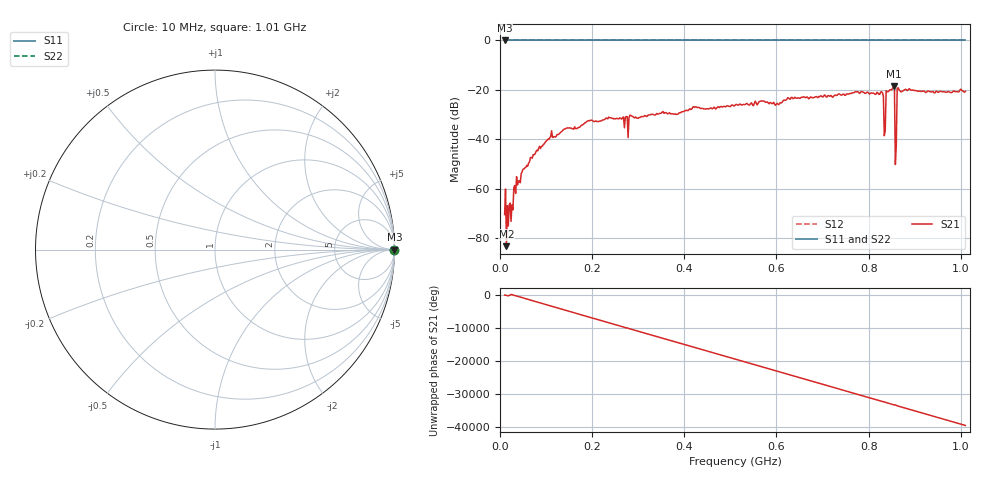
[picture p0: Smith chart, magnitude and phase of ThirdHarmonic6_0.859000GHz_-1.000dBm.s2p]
! 8/16/2025 4:24:40 AM
! C:\ANRITSUVNA\TEMP\TEMP.S2P
! CHANNEL.1
! TR.MEASUREMENT
! RAW.DATA
! RF.CORRECTION.OFF
! AVERAGING.OFF
! IF.BANDWIDTH: 5KHZ
! SWEEPTYPE:  FREQ.SWEEP(Linear)
! Reference Plane Port Info
! PORT:  PORT1  PORT2
! DISTANCE:  0  m  0  m
! TIME:  0  s  0  s
! PHASE.OFFSET:  0  deg.  0  deg.
! LOSS:  0  dB  0  dB
! REF.LOSS:  0  dB  0  dB
! REF.FREQ:  0  Hz  0  Hz
! Power Info
! POWER:  -20  dBm  -20  dBm
! EFF.POWER:  -20  dBm  -20  dBm
! SOURCE.ATTEN:  0  dB  0  dB
! TEST.ATTEN:  0  dB  0  dB
# GHZ S RI R 50.0
! FREQ.GHZ  S11RE  S11IM  S21RE  S21IM  S12RE  S12IM  S22RE  S22IM
!; PortSelection: Port_12
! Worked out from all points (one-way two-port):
!   501 points, 10 MHz to 1.01 GHz, reference 50 ohm
!   highest |S21| = -18.50 dB at 854 MHz (marker M1); lowest = -83.2 dB at 14 MHz (marker M2)
!   lowest |S11| = 0.0 dB at 10 MHz (marker M3)
!   |S11| at or under -10 dB: nowhere
!   |S22| runs from 0.0 to 0.0 dB; largest |S21 - S12| = 1.1
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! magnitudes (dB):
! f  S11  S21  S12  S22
! 10 MHz  0.0  -70.4  0.0  0.0
! 14 MHz  0.0  -83.2  0.0  0.0
! 22 MHz  0.0  -65.7  0.0  0.0
! 34 MHz  0.0  -61.8  0.0  0.0
! 82 MHz  0.0  -44.6  0.0  0.0
! 108 MHz  0.0  -39.3  0.0  0.0
! 178 MHz  0.0  -34.2  0.0  0.0
! 344 MHz  0.0  -29.8  0.0  0.0
! 510 MHz  0.0  -26.3  0.0  0.0
! 678 MHz  0.0  -23.1  0.0  0.0
! 826 MHz  0.0  -20.9  0.0  0.0
! 828 MHz  0.0  -20.7  0.0  0.0
! 832 MHz  0.0  -22.6  0.0  0.0
! 838 MHz  0.0  -20.4  0.0  0.0
! 842 MHz  0.0  -20.8  0.0  0.0
! 844 MHz  0.0  -20.4  0.0  0.0
! 852 MHz  0.0  -19.4  0.0  0.0
! 854 MHz  0.0  -18.5  0.0  0.0
! 856 MHz  0.0  -18.8  0.0  0.0
! 862 MHz  0.0  -19.4  0.0  0.0
! 866 MHz  0.0  -20.0  0.0  0.0
! 1.01 GHz  0.0  -20.6  0.0  0.0
